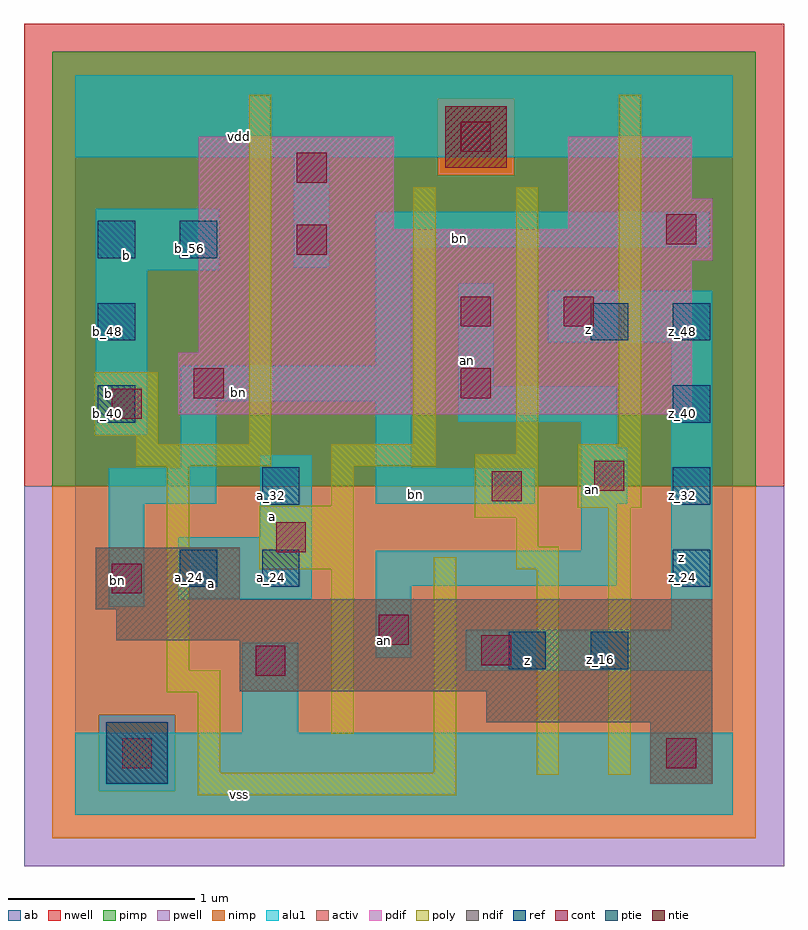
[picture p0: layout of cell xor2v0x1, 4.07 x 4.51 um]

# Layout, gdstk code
import gdstk
lib = gdstk.Library(unit=1e-6, precision=2.5e-09)
def R(c, l, rs):  # rectangles x0, y0, x1, y1
    for r in rs: c.add(gdstk.rectangle(r[:2], r[2:], *l))
def A(c, l, x, y, w, h, nx, ny, dx, dy):  # array of equal rectangles
    R(c, l, [(x+i*dx, y+j*dy, x+i*dx+w, y+j*dy+h) for i in range(nx) for j in range(ny)])
ndif = (3, 0)
pdif = (4, 0)
ntie = (5, 0)
ptie = (6, 0)
ref = (24, 0)
cont = (25, 0)
pwell = (41, 0)
nwell = (42, 0)
activ = (43, 0)
pimp = (44, 0)
nimp = (45, 0)
poly = (46, 0)
alu1 = (49, 0)
ab = (63, 0)

xor2v0x1 = lib.new_cell('xor2v0x1')
R(xor2v0x1, ndif, [(3.08,0.165,3.41,0.495), (2.2,0.495,3.41,0.66), (0.88,0.66,3.41,0.935), (0.22,0.935,3.41,1.1), (0.11,1.1,3.41,1.155), (0.11,1.155,0.88,1.43)])
R(xor2v0x1, pdif, [(0.55,2.145,3.3,2.475), (0.66,2.475,3.3,2.97), (0.66,2.97,3.41,3.135), (0.66,3.135,1.705,3.63), (2.64,3.135,3.41,3.3), (2.64,3.3,3.3,3.63)])
R(xor2v0x1, ntie, [(1.98,3.465,2.31,3.795)])
R(xor2v0x1, ptie, [(0.165,0.165,0.495,0.495)])
A(xor2v0x1, ref, 3.2, 1.22, 0.2, 0.2, 1, 4, 0, 0.44)
A(xor2v0x1, ref, 0.12, 2.1, 0.2, 0.2, 1, 3, 0, 0.44)
R(xor2v0x1, ref, [(2.32,0.78,2.52,0.98), (2.76,0.78,2.96,0.98), (0.56,1.22,0.76,1.42), (1,1.22,1.2,1.42), (1,1.66,1.2,1.86), (2.76,2.54,2.96,2.74), (0.56,2.98,0.76,3.18)])
R(xor2v0x1, cont, [(0.25,0.25,0.41,0.41), (3.165,0.25,3.325,0.41), (0.965,0.745,1.125,0.905), (2.175,0.8,2.335,0.96), (1.625,0.91,1.785,1.07), (0.195,1.185,0.355,1.345), (1.075,1.405,1.235,1.565), (2.23,1.68,2.39,1.84), (2.78,1.735,2.94,1.895), (0.195,2.12,0.355,2.28), (0.635,2.23,0.795,2.39), (2.065,2.23,2.225,2.39), (2.065,2.615,2.225,2.775), (2.615,2.615,2.775,2.775), (1.185,3,1.345,3.16), (3.165,3.055,3.325,3.215), (1.185,3.385,1.345,3.545), (2.065,3.55,2.225,3.71)])
R(xor2v0x1, pwell, [(-0.275,-0.275,3.795,1.76)])
R(xor2v0x1, nwell, [(-0.275,1.76,3.795,4.235)])
R(xor2v0x1, activ, [(0.165,0.165,0.495,0.495), (3.08,0.165,3.41,0.495), (2.2,0.495,3.41,0.66), (0.88,0.66,3.41,0.935), (0.22,0.935,3.41,1.1), (0.11,1.1,3.41,1.155), (0.11,1.155,0.88,1.43), (0.55,2.145,3.3,2.475), (0.66,2.475,3.3,2.97), (0.66,2.97,3.41,3.135), (0.66,3.135,1.705,3.63), (2.64,3.135,3.41,3.3), (2.64,3.3,3.3,3.63), (1.98,3.465,2.31,3.795)])
R(xor2v0x1, pimp, [(0.125,0.125,0.535,0.535), (-0.125,1.76,3.645,3.425), (-0.125,3.425,1.94,3.835), (2.35,3.425,3.645,3.835), (-0.125,3.835,3.645,4.085)])
R(xor2v0x1, nimp, [(-0.125,-0.125,3.645,0.125), (-0.125,0.125,0.125,0.535), (0.535,0.125,3.645,0.535), (-0.125,0.535,3.645,1.76), (1.94,3.425,2.35,3.835)])
R(xor2v0x1, poly, [(0.655,0.105,2.04,0.225), (2.47,0.215,2.59,1.315), (2.855,0.215,2.975,1.645), (0.655,0.225,0.775,0.655), (1.92,0.225,2.04,1.38), (1.37,0.435,1.49,1.315), (0.49,0.655,0.775,0.775), (0.49,0.775,0.61,1.865), (0.985,1.315,1.49,1.655), (2.36,1.315,2.59,1.435), (2.36,1.435,2.48,1.59), (2.14,1.59,2.48,1.93), (2.69,1.645,3.03,1.985), (1.37,1.655,1.49,1.865), (0.325,1.865,1.05,1.985), (1.37,1.865,1.93,1.985), (2.36,1.93,2.48,3.36), (0.325,1.985,0.445,2.03), (0.93,1.985,1.05,3.855), (1.81,1.985,1.93,3.36), (2.91,1.985,3.03,3.855), (0.105,2.03,0.445,2.37)])
R(xor2v0x1, alu1, [(0,0,3.52,0.44), (0.895,0.44,1.195,0.92), (2.09,0.77,3.41,0.99), (1.61,0.84,1.8,1.225), (3.19,0.99,3.41,2.53), (0.18,1.115,0.37,1.665), (0.55,1.155,1.265,1.485), (1.61,1.225,2.9,1.415), (2.71,1.415,2.9,1.665), (0.99,1.485,1.265,1.925), (0.18,1.665,0.755,1.855), (1.61,1.665,2.46,1.855), (2.71,1.665,2.955,1.965), (0.565,1.855,0.755,2.215), (1.61,1.855,1.8,2.215), (2.71,1.965,2.9,2.105), (0.11,2.035,0.385,2.915), (2.05,2.105,2.9,2.295), (0.565,2.215,1.8,2.405), (2.05,2.295,2.24,2.845), (1.61,2.405,1.8,3.04), (2.53,2.53,3.41,2.805), (0.11,2.915,0.77,3.245), (1.17,2.93,1.36,3.52), (1.61,3.04,3.395,3.23), (0,3.52,3.52,3.96)])
R(xor2v0x1, ab, [(0,0,3.52,3.96)])
xor2v0x1.add(gdstk.Label('vss', (0.88,0.11), layer=49, texttype=0))
xor2v0x1.add(gdstk.Label('z', (2.42,0.825), layer=49, texttype=0))
xor2v0x1.add(gdstk.Label('z', (3.245,1.375), layer=49, texttype=0))
xor2v0x1.add(gdstk.Label('an', (1.6575,0.935), layer=49, texttype=0))
xor2v0x1.add(gdstk.Label('a', (0.7275,1.2375), layer=49, texttype=0))
xor2v0x1.add(gdstk.Label('an', (2.77,1.74), layer=49, texttype=0))
xor2v0x1.add(gdstk.Label('bn', (1.8225,1.7125), layer=49, texttype=0))
xor2v0x1.add(gdstk.Label('z', (2.75,2.5975), layer=49, texttype=0))
xor2v0x1.add(gdstk.Label('an', (2.0975,2.4325), layer=49, texttype=0))
xor2v0x1.add(gdstk.Label('a', (1.0575,1.595), layer=49, texttype=0))
xor2v0x1.add(gdstk.Label('bn', (0.2275,1.2525), layer=49, texttype=0))
xor2v0x1.add(gdstk.Label('bn', (0.8725,2.2625), layer=49, texttype=0))
xor2v0x1.add(gdstk.Label('b', (0.1775,2.255), layer=49, texttype=0))
xor2v0x1.add(gdstk.Label('bn', (2.055,3.0875), layer=49, texttype=0))
xor2v0x1.add(gdstk.Label('b', (0.275,2.9975), layer=49, texttype=0))
xor2v0x1.add(gdstk.Label('vdd', (0.88,3.63), layer=49, texttype=0))
xor2v0x1.add(gdstk.Label('b_40', (0.17,2.15), layer=24, texttype=0))
xor2v0x1.add(gdstk.Label('z_48', (2.81,2.59), layer=24, texttype=0))
xor2v0x1.add(gdstk.Label('a_24', (0.61,1.27), layer=24, texttype=0))
xor2v0x1.add(gdstk.Label('z_16', (2.81,0.83), layer=24, texttype=0))
xor2v0x1.add(gdstk.Label('z_40', (3.25,2.15), layer=24, texttype=0))
xor2v0x1.add(gdstk.Label('z_24', (3.25,1.27), layer=24, texttype=0))
xor2v0x1.add(gdstk.Label('z_32', (3.25,1.71), layer=24, texttype=0))
xor2v0x1.add(gdstk.Label('b_56', (0.61,3.03), layer=24, texttype=0))
xor2v0x1.add(gdstk.Label('a_24', (1.05,1.27), layer=24, texttype=0))
xor2v0x1.add(gdstk.Label('a_32', (1.05,1.71), layer=24, texttype=0))
xor2v0x1.add(gdstk.Label('b_48', (0.17,2.59), layer=24, texttype=0))
xor2v0x1.add(gdstk.Label('b_56', (0.17,3.03), layer=24, texttype=0))
xor2v0x1.add(gdstk.Label('z_16', (2.37,0.83), layer=24, texttype=0))
xor2v0x1.add(gdstk.Label('z_48', (3.25,2.59), layer=24, texttype=0))

lib.write_gds('xor2v0x1.gds')
